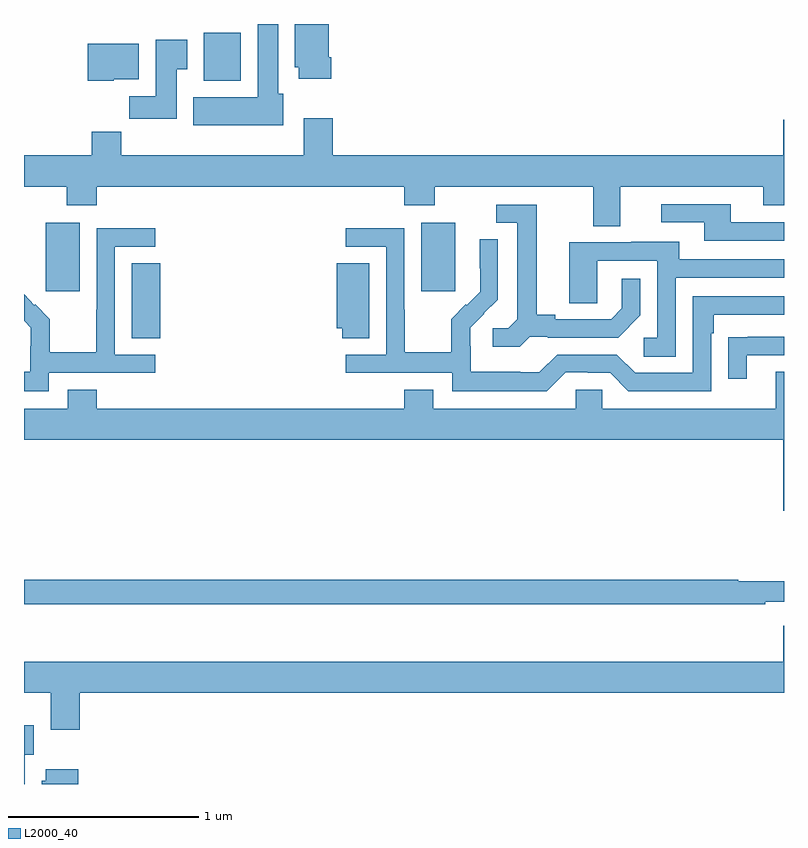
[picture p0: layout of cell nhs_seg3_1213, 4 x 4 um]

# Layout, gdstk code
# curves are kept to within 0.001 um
import gdstk
lib = gdstk.Library(unit=1e-6, precision=1e-09)
def R(c, l, rs):  # rectangles x0, y0, x1, y1
    for r in rs: c.add(gdstk.rectangle(r[:2], r[2:], *l))
def P(c, l, *ps):  # polygons
    for p in ps: c.add(gdstk.Polygon(p, *l))
L2000_40 = (2000, 40)

nhs_seg3_1213 = lib.new_cell('nhs_seg3_1213')
R(nhs_seg3_1213, L2000_40, [(173.567,738.745,173.717,739.142), (173.114,738.993,173.293,739.354), (175.091,738.993,175.27,739.354), (173.945,740.102,174.141,740.353)])
P(nhs_seg3_1213, L2000_40, [(174.617,740.224),(174.604,740.224),(174.604,740.4),(174.425,740.4),(174.425,740.172),(174.446,740.172),(174.446,740.112),(174.617,740.112)],
  [(174.364,740.034),(174.337,740.034),(174.337,740.4),(174.23,740.4),(174.23,740.014),(173.891,740.014),(173.891,739.868),(174.364,739.868)],
  [(173.803,740.161),(173.86,740.161),(173.86,740.317),(173.693,740.317),(173.693,740.02),(173.554,740.02),(173.554,739.902),(173.803,739.902)],
  [(173.472,740.108),(173.605,740.108),(173.605,740.296),(173.336,740.296),(173.336,740.102),(173.472,740.102)],
  [(176.137,739.544),(176.891,739.544),(176.891,739.445),(177,739.445),(177,739.897),(176.996,739.897),(176.996,739.708),(174.626,739.708),(174.626,739.903),(174.473,739.903),(174.473,739.708),(173.513,739.708),(173.513,739.832),(173.357,739.832),(173.357,739.708),(173,739.708),(173,739.544),(173.224,739.544),(173.224,739.445),(173.384,739.445),(173.384,739.544),(175.001,739.544),(175.001,739.445),(175.161,739.445),(175.161,739.544),(175.997,739.544),(175.997,739.336),(176.137,739.336)],
  [(177,739.356),(176.719,739.356),(176.719,739.452),(176.355,739.452),(176.355,739.356),(176.579,739.356),(176.579,739.26),(177,739.26)],
  [(175.662,738.753),(175.756,738.753),(175.756,738.75),(176.128,738.75),(176.244,738.866),(176.244,739.06),(176.147,739.06),(176.147,738.903),(176.09,738.846),(175.795,738.846),(175.795,738.869),(175.699,738.869),(175.699,739.449),(175.485,739.449),(175.485,739.353),(175.595,739.353),(175.595,738.845),(175.548,738.798),(175.467,738.798),(175.467,738.701),(175.61,738.701)],
  [(173.13,738.564),(173.692,738.564),(173.692,738.66),(173.478,738.66),(173.478,739.227),(173.692,739.227),(173.692,739.326),(173.382,739.326),(173.382,738.896),(173.38,738.896),(173.38,738.673),(173.135,738.673),(173.135,738.847),(173.058,738.924),(173.055,738.921),(173,738.977),(173,738.838),(173.036,738.802),(173.036,738.705),(173.034,738.705),(173.034,738.571),(173,738.571),(173,738.467),(173.13,738.467)],
  [(175.851,738.567),(175.967,738.567),(175.967,738.564),(176.085,738.564),(176.181,738.468),(176.616,738.468),(176.616,738.773),(176.629,738.773),(176.629,738.87),(177,738.87),(177,738.966),(176.52,738.966),(176.52,738.564),(176.217,738.564),(176.121,738.66),(175.806,738.66),(175.713,738.567),(175.613,738.567),(175.613,738.571),(175.35,738.571),(175.35,738.705),(175.348,738.705),(175.348,738.802),(175.494,738.95),(175.494,739.268),(175.398,739.268),(175.398,739.114),(175.4,739.114),(175.4,738.992),(175.329,738.921),(175.326,738.924),(175.249,738.847),(175.249,738.673),(175.005,738.673),(175.005,738.896),(175.002,738.896),(175.002,739.326),(174.693,739.326),(174.693,739.227),(174.906,739.227),(174.906,738.66),(174.693,738.66),(174.693,738.564),(175.254,738.564),(175.254,738.467),(175.751,738.467)],
  [(176.43,739.065),(177,739.065),(177,739.161),(176.449,739.161),(176.449,739.255),(176.195,739.255),(176.195,739.251),(175.871,739.251),(175.871,738.931),(176.016,738.931),(176.016,739.155),(176.334,739.155),(176.334,738.75),(176.262,738.75),(176.262,738.649),(176.43,738.649)],
  [(174.817,739.142),(174.647,739.142),(174.647,738.798),(174.674,738.798),(174.674,738.745),(174.817,738.745)],
  [(176.803,738.657),(177,738.657),(177,738.753),(176.809,738.753),(176.809,738.752),(176.707,738.752),(176.707,738.534),(176.803,738.534)],
  [(177,738.571),(176.957,738.571),(176.957,738.376),(176.043,738.376),(176.043,738.474),(175.905,738.474),(175.905,738.376),(175.153,738.376),(175.153,738.475),(175.001,738.475),(175.001,738.376),(173.384,738.376),(173.384,738.475),(173.231,738.475),(173.231,738.376),(173,738.376),(173,738.212),(176.996,738.212),(176.996,737.838),(177,737.838)],
  [(176.9,737.358),(177,737.358),(177,737.467),(176.758,737.467),(176.758,737.474),(173,737.474),(173,737.346),(176.9,737.346)],
  [(173.294,736.88),(177,736.88),(177,737.233),(176.996,737.233),(176.996,737.044),(173,737.044),(173,736.88),(173.141,736.88),(173.141,736.686),(173.294,736.686)],
  [(173.005,736.554),(173.05,736.554),(173.05,736.708),(173,736.708),(173,736.4),(173.005,736.4)],
  [(173.285,736.477),(173.114,736.477),(173.114,736.416),(173.093,736.416),(173.093,736.4),(173.285,736.4)])

lib.write_gds('nhs_seg3_1213.gds')
